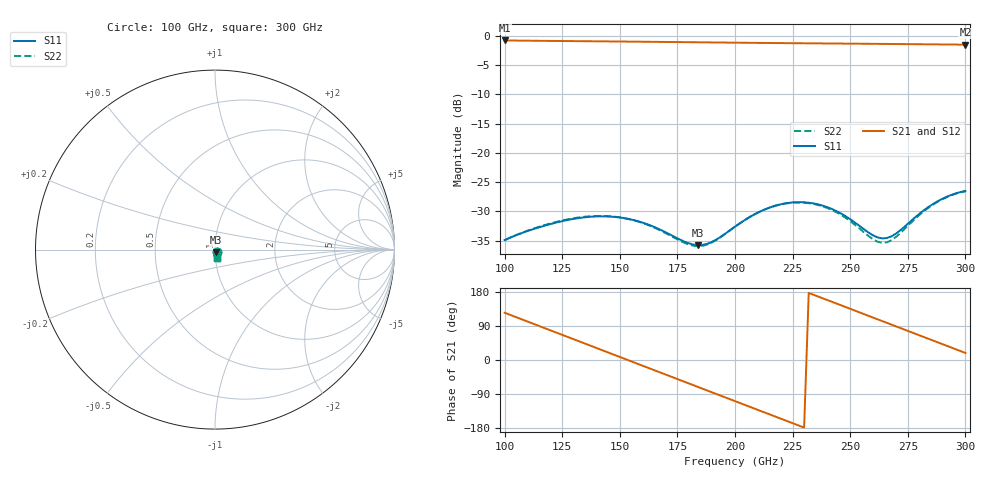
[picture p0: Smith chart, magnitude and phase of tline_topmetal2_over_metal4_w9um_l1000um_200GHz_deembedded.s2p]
! Created with skrf 2.2.0 (http://scikit-rf.org).
# GHz S DB R 50.0
! Port[1] = P1
! Port[2] = P2
!freq dBS11 angS11 dBS21 angS21 dBS12 angS12 dBS22 angS22
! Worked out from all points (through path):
!   101 points, 100 GHz to 300 GHz, reference 50 ohm
!   highest |S21| = -0.80 dB at 100 GHz (marker M1); lowest = -1.5 dB at 300 GHz (marker M2)
!   group delay of S21, straight-line fit = 6.47 ps
!   lowest |S11| = -35.8 dB at 184 GHz (marker M3), VSWR 1.03, Z = 50.4 - j1.58 ohm
!   |S11| at or under -10 dB: start of sweep to end of sweep
!   |S22| runs from -35.9 to -26.6 dB; largest |S21 - S12| = 1e-13
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100  -34.90 -47.2  -0.80 124.7  -0.80 124.7  -34.93 -47.5
108  -33.63 -48.6  -0.83 106.0  -0.83 106.0  -33.57 -49.0
116  -32.60 -51.9  -0.86 87.4  -0.86 87.4  -32.50 -52.7
124  -31.76 -56.8  -0.89 68.7  -0.89 68.7  -31.64 -58.0
134  -31.04 -64.8  -0.92 45.4  -0.92 45.4  -30.94 -66.5
144  -30.85 -74.1  -0.96 22.0  -0.96 22.0  -30.80 -76.0
152  -31.16 -81.3  -0.98 3.4  -0.98 3.4  -31.16 -83.4
160  -31.93 -87.3  -1.01 -15.3  -1.01 -15.3  -31.99 -89.5
168  -33.20 -90.3  -1.04 -34.0  -1.04 -34.0  -33.33 -92.3
184  -35.76 -74.2  -1.11 -71.3  -1.11 -71.3  -35.94 -75.0
192  -34.79 -59.2  -1.14 -89.9  -1.14 -89.9  -34.85 -59.7
200  -32.61 -53.3  -1.17 -108.6  -1.17 -108.6  -32.61 -54.2
218  -28.97 -66.2  -1.24 -150.4  -1.24 -150.4  -28.99 -67.8
226  -28.44 -76.3  -1.27 -169.0  -1.27 -169.0  -28.49 -78.2
234  -28.63 -86.6  -1.29 172.3  -1.29 172.3  -28.72 -88.8
242  -29.58 -95.3  -1.31 153.7  -1.31 153.7  -29.74 -97.9
252  -31.89 -99.6  -1.35 130.4  -1.35 130.4  -32.26 -102.5
262  -34.46 -85.3  -1.38 107.1  -1.38 107.1  -35.20 -86.4
268  -34.24 -68.4  -1.40 93.1  -1.40 93.1  -34.90 -67.0
282  -29.81 -55.4  -1.45 60.5  -1.45 60.5  -29.96 -53.7
292  -27.48 -63.9  -1.48 37.3  -1.48 37.3  -27.54 -63.0
300  -26.51 -74.1  -1.51 18.7  -1.51 18.7  -26.55 -73.7
